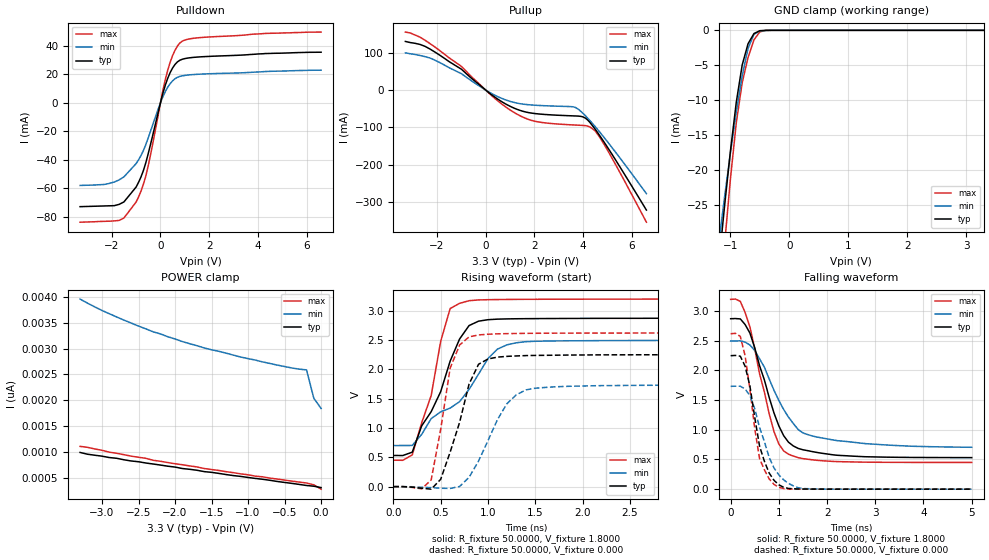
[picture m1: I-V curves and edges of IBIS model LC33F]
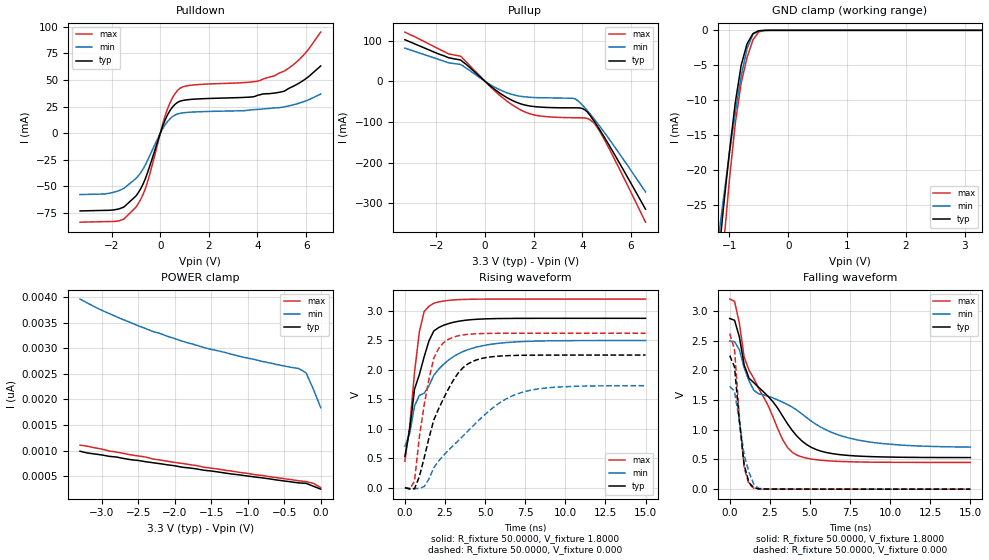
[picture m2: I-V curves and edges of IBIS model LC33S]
| Xilinx CoolRunner-II IBIS models
[IBIS ver]   3.2
[File name]   top.ibs
[File Rev]   0.3
[Date]   Mon Sep 30 14:48:35 2024
[Source]   HSPICE simulations
[Notes]   Xilinx IBIS models for CoolRunner-II
|   The available package models are
|   XC2C32  - CP56, VQ44 and PC44
|   XC2C64  - CP56, VQ44, VQ100 and PC44
|   XC2C128 - FT256, TQ144, CP132 and VQ100
|   XC2C256 - FT256, PQ208, TQ144, CP132, and VQ100
|   XC2C384 - FG324, FT256, PQ208, and TQ144
|   XC2C512 - FG324, FT256, and PQ208
|   with CP56 being selected as a default.
|   Please make your own selection of the packages by
|   commenting out the unused ones.
|   Model names:
|   lc15f - LVCMOS 1.5V & fast slew rate
|   lc15s - LVCMOS 1.5V & slow slew rate
|   lc18f - LVCMOS 1.8V & fast slew rate
|   lc18s - LVCMOS 1.8V & slow slew rate
|   lc25f - LVCMOS 2.5V & fast slew rate
|   lc25s - LVCMOS 2.5V & slow slew rate
|   lc33f - LVCMOS 3.3V & fast slew rate
|   lc33s - LVCMOS 3.3V & slow slew rate
|   hs15f  - HSTL1 1.5V & fast slew rate
|   hs15s  - HSTL1 1.5V & slow slew rate
|   ss25f  - SSTL2-1 2.5V & fast slew rate
|   ss25s  - SSTL2-1 2.5V & slow slew rate
|   ss33f  - SSTL3-1 3.3V & fast slew rate
|   ss33s  - SSTL3-1 3.3V & slow slew rate
|   lt33f  - LVTTL 3.3V & fast slew rate
|   lt33s  - LVTTL 3.3V & slow slew rate
|   COMMENTS: Models include process corners for MIN and MAX
|   NOTE: This file is compliant with IBIS Version 3.2, but it
|   may not implement all approved 3.2 features.
|   NOTE:  Newer versions of the buffer models may be available.
|   Check the web (http://www.xilinx.com/support/sw_ibis.htm) for
|   the latest file revision.  However, please be aware that the
|   web files are not compatible for use with IBISWriter, and
|   must be manually annotated, should their use be preferred.
[Disclaimer]   The data in this model is derived from SPICE simulations
|   using modeling information extracted from the target pro-
|   cess. While a great deal of care has been take to provide
|   information that is accurate, this model is considered
|   preliminary as it has not been verified by actual silicon
|   measurement. Treat the data in this model as preliminary
|   until actual silicon verification is performed.
[Copyright]   Copyright 2003, Xilinx Inc., All rights reserved
|   Component XBR
[Component]   XBR
[Manufacturer]   Xilinx Inc.
[Package]
| For Package Type qfg48
| variable   typ   min   max
R_pkg   89.0000m   75.0000m   103.000m
L_pkg   1.8500nH   1.5000nH   2.2000nH
C_pkg   0.3500pF   0.3000pF   0.4000pF
[Pin]  signal_name   model_name   R_pin   L_pin   C_pin
11   clk   LC33S
12   din   LC33S
37   d1<0>   LC33F
36   d1<1>   LC33F
35   d1<2>   LC33F
33   d1<3>   LC33F
32   d1<4>   LC33F
27   d1<5>   LC33F
25   d1<6>   LC33F
6   d2<0>   LC33F
5   d2<1>   LC33F
34   d2<2>   LC33F
26   d2<3>   LC33F
44   d2<4>   LC33F
39   d2<5>   LC33F
38   d2<6>   LC33F
24   d3<0>   LC33F
15   d3<1>   LC33F
14   d3<2>   LC33F
10   d3<3>   LC33F
9   d3<4>   LC33F
8   d3<5>   LC33F
7   d3<6>   LC33F
| Models and submodels in the file (2): LC33F (I/O), LC33S (I/O)
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|   Model LC33F
[Model]   LC33F
Model_type   I/O
Polarity   Inverting
Enable   Active-High
Vinl =   0.8000V
Vinh =   2.0000V
Vmeas =   1.650V
Cref =  35.0000pF
Rref =   125.005
Vref =  1.540V
C_comp   1.4810pF   0.9482pF   2.0140pF
[Temperature Range]   25.0000   100.0000   0.000
[Voltage Range]   3.3000V   3.0000V   3.6000V
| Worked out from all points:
|   slope of the pulldown table from 0 to 0.495 V, typ, clamps not added: 20.3 ohm
|   slope of the pullup table from 0 to 0.495 V, typ, clamps not added: 20.4 ohm
|   GND clamp passes 1 mA (typ) near -0.64 V on its own axis
|   rising waveform, R_fixture 50.0000, V_fixture 1.8000: 20-80 % time 378ps typ, 619ps min, 247ps max; typ from 0.531 V to 2.87 V
|   rising waveform, R_fixture 50.0000, V_fixture 0.000: 20-80 % time 244ps typ, 322ps min, 172ps max; typ from 0 V to 2.25 V
|   falling waveform, R_fixture 50.0000, V_fixture 1.8000: 20-80 % time 549ps typ, 701ps min, 466ps max; typ from 2.87 V to 0.531 V
|   falling waveform, R_fixture 50.0000, V_fixture 0.000: 20-80 % time 329ps typ, 423ps min, 272ps max; typ from 2.25 V to 0 V
[Pulldown]
| voltage   I(typ)   I(min)   I(max)
-3.3V     -72.8mA    -57.9mA    -83.7mA
-2.3V     -72.3mA    -57.2mA    -83.1mA
-1.7V     -71.23mA   -54.06mA   -82.48mA
-1.5V     -69.49mA   -51.89mA   -80.79mA
-1V       -59.06mA   -42.61mA   -69.57mA
-800mV    -52.01mA   -36.94mA   -61.99mA
-600mV    -41.98mA   -29.23mA   -51.26mA
200mV     12.46mA    7.971mA    16.42mA
500mV     24.55mA    15.52mA    33.24mA
800mV     29.99mA    18.63mA    42.11mA
1.7V      32.41mA    20.26mA    45.95mA
6.6V      35.6mA     23.01mA    49.73mA
[Pullup]
| voltage   I(typ)   I(min)   I(max)
-3.3V     130mA      99.51mA    155mA
-2.7V     122mA      92.58mA    141.5mA
-2.3V     110.1mA    85.96mA    124.8mA
-1V       55.82mA    43.89mA    63.41mA
400mV     -20mA      -14.56mA   -23.67mA
1.4V      -54.09mA   -36.27mA   -68.27mA
2.2V      -63.95mA   -41.12mA   -85.5mA
3.6V      -68.97mA   -44.79mA   -93.2mA
4.1V      -75.18mA   -69.01mA   -95.03mA
4.5V      -104.9mA   -97.92mA   -109.4mA
5.1V      -162.8mA   -146.3mA   -171.7mA
6.6V      -320.7mA   -276.7mA   -353.1mA
[GND_clamp]
| voltage   I(typ)   I(min)   I(max)
-3.3V     -239.9mA   -199.5mA   -278.2mA
-1.2V     -33.67mA   -30.61mA   -40.86mA
-1.1V     -25.24mA   -23.93mA   -30.78mA
-1V       -17.33mA   -17.6mA    -21.32mA
-900mV    -10.3mA    -11.71mA   -13.24mA
-800mV    -4.97mA    -6.519mA   -7.512mA
-700mV    -1.912mA   -2.589mA   -3.865mA
-600mV    -461.7uA   -562.5uA   -1.358mA
-500mV    -51.63uA   -96.01uA   -215.1uA
-400mV    -3.51uA    -19.18uA   -14.58uA
3.3V      246.2pA    1.98nA     223.3pA
[POWER_clamp]
| voltage   I(typ)   I(min)   I(max)
-3.3V     990pA      3.961nA    1.108nA
-3V       918.2pA    3.74nA     1.032nA
-2.7V     848.1pA    3.554nA    946.8pA
-2.4V     785.5pA    3.384nA    876.6pA
-2.3V     766.2pA    3.327nA    838.4pA
-1.9V     678.8pA    3.138nA    752.4pA
-1.6V     618.7pA    3.014nA    678.9pA
-1.1V     525.8pA    2.838nA    574.9pA
-400mV    391pA      2.626nA    434.7pA
-200mV    350pA      2.589nA    398.1pA
-100mV    336.2pA    2.04nA     363.4pA
0V        309.6pA    1.842nA    278.9pA
[Ramp]
dV/dt_r   1.3482/0.2088n   1.0386/0.3146n   1.5702/0.1558n
dV/dt_f   0.9708/0.8515n   0.6090/1.1081n   1.3596/0.7321n
R_load = 50.0000
[Rising Waveform]
R_fixture = 50.0000
V_fixture = 1.8000
V_fixture_min = 1.6000
V_fixture_max = 2.0000
L_fixture = 0.000H
C_fixture = 0.000F
| time   V(typ)   V(min)   V(max)
0s        530.7mV    699.7mV    449.6mV
200ps     586.7mV    701.2mV    540.3mV
400ps     1.277V     1.158V     1.552V
500ps     1.617V     1.274V     2.474V
600ps     2.137V     1.337V     3.033V
700ps     2.515V     1.448V     3.123V
800ps     2.744V     1.655V     3.167V
1ns       2.844V     2.183V     3.184V
1.3ns     2.86V      2.45V      3.189V
5ns       2.869V     2.493V     3.195V
[Rising Waveform]
R_fixture = 50.0000
V_fixture = 0.000
V_fixture_min = 0.000
V_fixture_max = 0.000
L_fixture = 0.000H
C_fixture = 0.000F
| time   V(typ)   V(min)   V(max)
0s        0V         0V         0V
400ps     -43.47mV   -17.54mV   114.7mV
500ps     123.9mV    -27.83mV   974.6mV
600ps     587mV      -30.79mV   2.017V
700ps     1.095V     1.835mV    2.413V
800ps     1.748V     158.3mV    2.551V
1ns       2.175V     784.6mV    2.596V
1.2ns     2.219V     1.413V     2.606V
1.4ns     2.232V     1.647V     2.611V
5ns       2.247V     1.731V     2.617V
[Falling Waveform]
R_fixture = 50.0000
V_fixture = 1.8000
V_fixture_min = 1.6000
V_fixture_max = 2.0000
L_fixture = 0.000H
C_fixture = 0.000F
| time   V(typ)   V(min)   V(max)
0s        2.869V     2.493V     3.195V
200ps     2.866V     2.497V     3.161V
400ps     2.627V     2.426V     2.731V
600ps     2.077V     2.193V     1.939V
900ps     1.28V      1.663V     966.2mV
1ns       1.063V     1.492V     758.8mV
1.2ns     790.1mV    1.212V     587.8mV
1.5ns     662.9mV    946.5mV    513.7mV
2.2ns     571.2mV    817.9mV    464.2mV
5ns       531.2mV    705.2mV    449.7mV
[Falling Waveform]
R_fixture = 50.0000
V_fixture = 0.000
V_fixture_min = 0.000
V_fixture_max = 0.000
L_fixture = 0.000H
C_fixture = 0.000F
| time   V(typ)   V(min)   V(max)
0s        2.247V     1.731V     2.617V
200ps     2.238V     1.733V     2.572V
300ps     2.069V     1.686V     2.243V
400ps     1.734V     1.575V     1.676V
500ps     1.206V     1.351V     1.016V
600ps     721.1mV    1.038V     513.2mV
900ps     148.3mV    355mV      80.03mV
1.2ns     11.95mV    96.94mV    4.877mV
1.5ns     2.343mV    11.11mV    1.167mV
5ns       5.945uV    33.92uV    1.638uV
|   Model LC33S
[Model]   LC33S
Model_type   I/O
Polarity   Inverting
Enable   Active-High
Vinl =   0.8000V
Vinh =   2.0000V
Vmeas =   1.650V
Cref =  35.0000pF
Rref =  125.000
Vref =  1.54000V
C_comp   1.4810pF   0.9482pF   2.0140pF
[Temperature Range]   25.0000   100.0000   0.000
[Voltage Range]   3.3000V   3.0000V   3.6000V
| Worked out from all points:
|   slope of the pulldown table from 0 to 0.495 V, typ, clamps not added: 20.3 ohm
|   slope of the pullup table from 0 to 0.495 V, typ, clamps not added: 20.4 ohm
|   GND clamp passes 1 mA (typ) near -0.64 V on its own axis
|   rising waveform, R_fixture 50.0000, V_fixture 1.8000: 20-80 % time 1.1ns typ, 2.21ns min, 631ps max; typ from 0.53 V to 2.87 V
|   rising waveform, R_fixture 50.0000, V_fixture 0.000: 20-80 % time 1.82ns typ, 3.8ns min, 949ps max; typ from 0 V to 2.25 V
|   falling waveform, R_fixture 50.0000, V_fixture 1.8000: 20-80 % time 3.16ns typ, 4.74ns min, 2.34ns max; typ from 2.87 V to 0.531 V
|   falling waveform, R_fixture 50.0000, V_fixture 0.000: 20-80 % time 497ps typ, 680ps min, 475ps max; typ from 2.25 V to 0 V
[Pulldown]
| voltage   I(typ)   I(min)   I(max)
-3.3V     -73.1mA    -57.7mA    -83.7mA
-1.7V     -71.23mA   -54.06mA   -82.48mA
-1V       -59.06mA   -42.61mA   -69.57mA
-600mV    -41.98mA   -29.23mA   -51.26mA
200mV     12.46mA    7.971mA    16.42mA
500mV     24.55mA    15.52mA    33.24mA
800mV     29.99mA    18.63mA    42.11mA
1.4V      32.04mA    19.98mA    45.47mA
3.9V      34.63mA    22.25mA    48.65mA
4.7V      37.76mA    23.79mA    54.04mA
5.7V      46.96mA    28.16mA    68.92mA
6.6V      63.26mA    36.81mA    95.13mA
[Pullup]
| voltage   I(typ)   I(min)   I(max)
-3.3V     102.4mA    81.77mA    121.1mA
-1.5V     57.98mA    45.61mA    67.4mA
-1V       52.38mA    41.47mA    61.79mA
500mV     -24.45mA   -17.68mA   -29.09mA
1.6V      -57.66mA   -37.83mA   -74.18mA
2.3V      -63.4mA    -40.27mA   -85.4mA
3.7V      -65.08mA   -42.95mA   -89.51mA
4V        -66.81mA   -58.1mA    -89.7mA
4.3V      -82.26mA   -78.48mA   -93.71mA
4.5V      -99.05mA   -93.36mA   -103.2mA
4.9V      -136.8mA   -125.1mA   -142.5mA
6.6V      -314.3mA   -271.7mA   -346.3mA
[GND_clamp]
| voltage   I(typ)   I(min)   I(max)
-3.3V     -239.9mA   -199.5mA   -278.2mA
-1.2V     -33.67mA   -30.61mA   -40.86mA
-1.1V     -25.24mA   -23.93mA   -30.78mA
-1V       -17.33mA   -17.6mA    -21.32mA
-900mV    -10.3mA    -11.71mA   -13.24mA
-800mV    -4.97mA    -6.519mA   -7.512mA
-700mV    -1.912mA   -2.589mA   -3.865mA
-600mV    -461.7uA   -562.5uA   -1.358mA
-500mV    -51.63uA   -96.01uA   -215.1uA
-400mV    -3.51uA    -19.18uA   -14.58uA
3.3V      246.2pA    2.6nA      222.9pA
[POWER_clamp]
| voltage   I(typ)   I(min)   I(max)
-3.3V     989.4pA    3.96nA     1.108nA
-3V       917.4pA    3.739nA    1.031nA
-2.7V     846.9pA    3.554nA    946.5pA
-2.4V     785.1pA    3.384nA    876.5pA
-2.3V     765.2pA    3.326nA    837.6pA
-1.9V     677.6pA    3.138nA    752.4pA
-1.6V     618.2pA    3.013nA    677.8pA
-1.1V     525.1pA    2.838nA    574.3pA
-300mV    371.4pA    2.604nA    412.5pA
-200mV    362.5pA    2.519nA    396.3pA
-100mV    306pA      2.2nA      363.2pA
0V        249.2pA    1.841nA    278.5pA
[Ramp]
dV/dt_r   1.3482/1.8799n   1.0368/3.7963n   1.5702/0.8881n
dV/dt_f   0.9702/3.0171n   0.6066/3.9098n   1.3596/2.6389n
R_load = 50.0000
[Rising Waveform]
R_fixture = 50.0000
V_fixture = 1.8000
V_fixture_min = 1.6000
V_fixture_max = 2.0000
L_fixture = 0.000H
C_fixture = 0.000F
| time   V(typ)   V(min)   V(max)
0s        530.2mV    699.7mV    449.2mV
300ps     989.5mV    920.5mV    1.048V
600ps     1.669V     1.381V     1.951V
900ps     1.915V     1.564V     2.639V
1.2ns     2.217V     1.6V       2.984V
1.5ns     2.486V     1.726V     3.073V
1.8ns     2.655V     1.903V     3.124V
2.7ns     2.778V     2.157V     3.172V
4.8ns     2.857V     2.402V     3.194V
15ns      2.869V     2.493V     3.195V
[Rising Waveform]
R_fixture = 50.0000
V_fixture = 0.000
V_fixture_min = 0.000
V_fixture_max = 0.000
L_fixture = 0.000H
C_fixture = 0.000F
| time   V(typ)   V(min)   V(max)
0s        492.2uV    354.2uV    530.5uV
300ps     -18.94mV   -11.89mV   -24.55mV
600ps     -16.3mV    -16.34mV   113.9mV
900ps     186.6mV    -10.29mV   852mV
1.2ns     503.7mV    19.4mV     1.399V
1.8ns     1.146V     336.8mV    2.195V
2.7ns     1.667V     629.8mV    2.512V
4.2ns     2.137V     1.033V     2.603V
7.2ns     2.243V     1.607V     2.616V
15ns      2.247V     1.728V     2.617V
[Falling Waveform]
R_fixture = 50.0000
V_fixture = 1.8000
V_fixture_min = 1.6000
V_fixture_max = 2.0000
L_fixture = 0.000H
C_fixture = 0.000F
| time   V(typ)   V(min)   V(max)
0s        2.87V      2.494V     3.197V
300ps     2.841V     2.481V     3.16V
600ps     2.562V     2.348V     2.792V
900ps     2.09V      2.042V     2.222V
1.2ns     1.867V     1.822V     2.001V
1.8ns     1.714V     1.606V     1.696V
3.9ns     985.8mV    1.379V     619mV
5.4ns     665.3mV    1.087V     494.8mV
7.8ns     559.7mV    837.5mV    458.9mV
15ns      531.4mV    707.5mV    449.7mV
[Falling Waveform]
R_fixture = 50.0000
V_fixture = 0.000
V_fixture_min = 0.000
V_fixture_max = 0.000
L_fixture = 0.000H
C_fixture = 0.000F
| time   V(typ)   V(min)   V(max)
0s        2.247V     1.73V      2.618V
300ps     2.056V     1.644V     2.347V
600ps     1.151V     1.148V     1.215V
900ps     407.1mV    574.2mV    356.3mV
1.2ns     109.2mV    285.9mV    84.37mV
1.5ns     25.84mV    82.4mV     15.52mV
1.8ns     5.605mV    13.62mV    3.153mV
2.4ns     1.757mV    2.94mV     1.625mV
15ns      2.746uV    15.37uV    1.24uV
